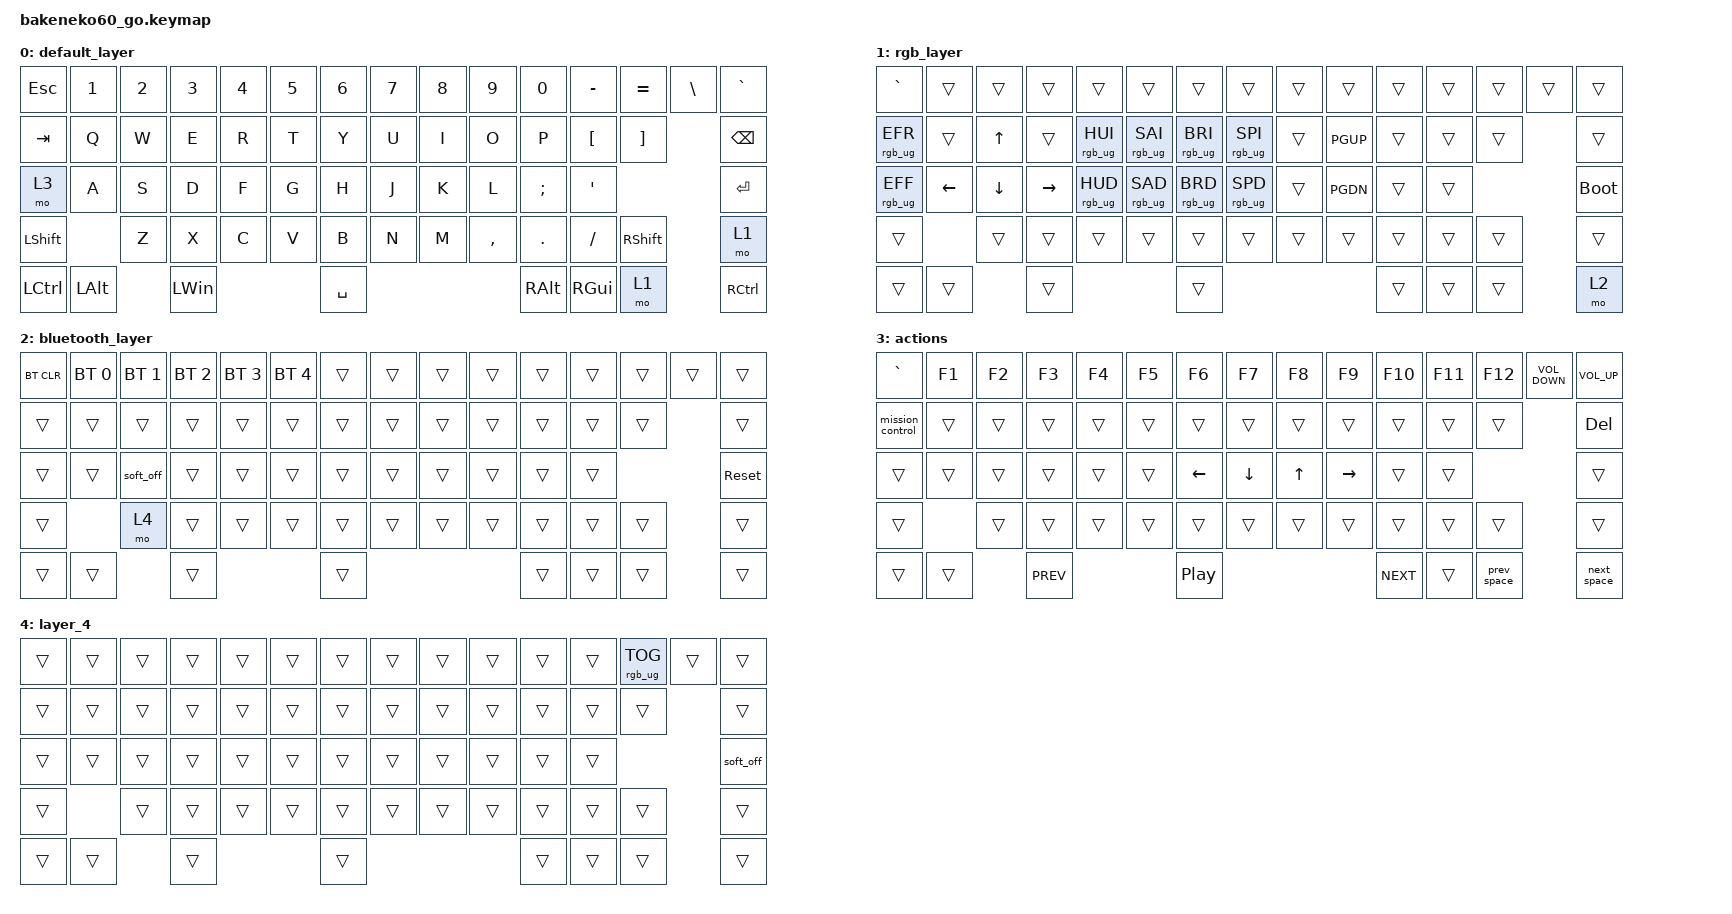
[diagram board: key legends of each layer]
/*
 * Copyright (c) 2023 Andrew Kannan
 *
 * SPDX-License-Identifier: MIT
 */

#include <behaviors.dtsi>
#include <dt-bindings/zmk/bt.h>
#include <dt-bindings/zmk/keys.h>
#include <dt-bindings/zmk/keys.h>
#include <dt-bindings/zmk/rgb.h>

/ {
    macros {
        prev_space: prev_space {
            compatible = "zmk,behavior-macro";
            #binding-cells = <0>;
            bindings = <&kt LEFT_CONTROL &kp LEFT_ARROW &kt LCTRL>;
            label = "PREV_SPACE";
        };

        next_space: next_space {
            compatible = "zmk,behavior-macro";
            #binding-cells = <0>;
            bindings = <&kt LCTRL &kp RIGHT_ARROW &kt LCTRL>;
            label = "NEXT_SPACE";
        };

        mission_control: mission_control {
            compatible = "zmk,behavior-macro";
            #binding-cells = <0>;
            bindings = <&kt LCTRL &kp UP_ARROW &kt LCTRL>;
            label = "MISSION_CONTROL";
        };
    };

    keymap {
        compatible = "zmk,keymap";

        default_layer {
            // ------------------------------------------------------------------------------------------
            // | ESC |  1  |  2  |  3  |  4  |  5  |  6  |  7  |  8  |  9  |  0  |  -  |  =  | BKSP|BKSP|
            // | TAB  |  Q  |  W  |  E  |  R  |  T  |  Y  |  U  |  I  |  O  |  P  |  [  |  ]  |   "|"   |
            // | CAPS  |  A  |  S  |  D  |  F  |  G  |  H  |  J  |  K  |  L  |  ;  |  '  |     ENTER    |
            // |  SHIFT  |  Z  |  X  |  C  |  V  |  B  |  N  |  M  |  ,  |  .  |  /  |  SHIFT  | MO(1)  |
            // |  CTL  |  WIN  |  ALT  |            SPACE              |  ALT  |  WIN  |  MO(1) |  CTL  |
            // ------------------------------------------------------------------------------------------

            bindings = <
&kp ESCAPE  &kp N1        &kp N2  &kp N3        &kp N4  &kp N5  &kp N6     &kp N7  &kp N8  &kp N9     &kp N0    &kp MINUS  &kp EQUAL  &kp BSLH  &kp GRAVE
&kp TAB     &kp Q         &kp W   &kp E         &kp R   &kp T   &kp Y      &kp U   &kp I   &kp O      &kp P     &kp LBKT   &kp RBKT             &kp BACKSPACE
&mo 3       &kp A         &kp S   &kp D         &kp F   &kp G   &kp H      &kp J   &kp K   &kp L      &kp SEMI  &kp SQT                         &kp RET
&kp LSHFT                 &kp Z   &kp X         &kp C   &kp V   &kp B      &kp N   &kp M   &kp COMMA  &kp DOT   &kp FSLH   &kp RSHFT            &mo 1
&kp LCTRL   &kp LEFT_ALT          &kp LEFT_WIN                  &kp SPACE                             &kp RALT  &kp RGUI   &mo 1                &kp RCTRL
            >;
        };

        rgb_layer {
            // ------------------------------------------------------------------------------------------------
            // |    `   | F1  | F2  | F3  | F4  | F5  | F6  | F7  | F8  | F9  | F10  | F11 | F12 |     | DEL  |
            // | EFCT REV|   |  UP |   | HUEUP | SATUP | BRIUP | SPDUP |      |  PGUP |    |     |    |       |
            // | EFCT FWD | LT |  DN  | RT | HUEDN | SATDN | BRIDN | SPDDN | HOME | PGDN | END  |  | BOOTLDR  |
            // |             |     |      |      |     |     |     |     |     |     |     |         |        |
            // |         |      |      |             TOG RGB                | PRT SCR |       |       |  MO(2)|
            // ------------------------------------------------------------------------------------------------

            bindings = <
&kp GRAVE        &trans    &trans    &trans     &trans           &trans           &trans           &trans           &trans  &trans    &trans  &trans  &trans  &trans  &trans
&rgb_ug RGB_EFR  &trans    &kp UP    &trans     &rgb_ug RGB_HUI  &rgb_ug RGB_SAI  &rgb_ug RGB_BRI  &rgb_ug RGB_SPI  &trans  &kp PGUP  &trans  &trans  &trans          &trans
&rgb_ug RGB_EFF  &kp LEFT  &kp DOWN  &kp RIGHT  &rgb_ug RGB_HUD  &rgb_ug RGB_SAD  &rgb_ug RGB_BRD  &rgb_ug RGB_SPD  &trans  &kp PGDN  &trans  &trans                  &bootloader
&trans                     &trans    &trans     &trans           &trans           &trans           &trans           &trans  &trans    &trans  &trans  &trans          &trans
&trans           &trans              &trans                                       &trans                                              &trans  &trans  &trans          &mo 2
            >;
        };

        bluetooth_layer {
            // ------------------------------------------------------------------------------------------------
            // | BT CLR |     |     |     |     |     |     |     |     |     |     |    |    |       |       |
            // |  BT 1   |   |     |   |       |       |       |       |   |     |    |     |     |           |
            // |   BT 2   |    |      |    |       |       |       |       |      |      |      |  |   Reset  |
            // |    BT 3     |     |      |      |     |     |     |     |     |     |     |         |        |
            // |   BT 4  |      |      |                                    |         |       |       |       |
            // ------------------------------------------------------------------------------------------------

            bindings = <
&bt BT_CLR  &bt BT_SEL 0  &bt BT_SEL 1  &bt BT_SEL 2  &bt BT_SEL 3  &bt BT_SEL 4  &trans  &trans  &trans  &trans  &trans  &trans  &trans  &trans  &trans
&trans      &trans        &trans        &trans        &trans        &trans        &trans  &trans  &trans  &trans  &trans  &trans  &trans          &trans
&trans      &trans        &soft_off     &trans        &trans        &trans        &trans  &trans  &trans  &trans  &trans  &trans                  &sys_reset
&trans                    &mo 4         &trans        &trans        &trans        &trans  &trans  &trans  &trans  &trans  &trans  &trans          &trans
&trans      &trans                      &trans                                    &trans                          &trans  &trans  &trans          &trans
            >;
        };

        actions {
            bindings = <
&kp GRAVE         &kp F1  &kp F2  &kp F3      &kp F4  &kp F5  &kp F6            &kp F7    &kp F8  &kp F9     &kp F10     &kp F11  &kp F12      &kp C_VOLUME_DOWN  &kp C_VOLUME_UP
&mission_control  &trans  &trans  &trans      &trans  &trans  &trans            &trans    &trans  &trans     &trans      &trans   &trans                          &kp DELETE
&trans            &trans  &trans  &trans      &trans  &trans  &kp LEFT          &kp DOWN  &kp UP  &kp RIGHT  &trans      &trans                                   &trans
&trans                    &trans  &trans      &trans  &trans  &trans            &trans    &trans  &trans     &trans      &trans   &trans                          &trans
&trans            &trans          &kp C_PREV                  &kp C_PLAY_PAUSE                               &kp C_NEXT  &trans   &prev_space                     &next_space
            >;
        };

        layer_4 {
            bindings = <
&trans  &trans  &trans  &trans  &trans  &trans  &trans  &trans  &trans  &trans  &trans  &trans  &rgb_ug RGB_TOG  &trans  &trans
&trans  &trans  &trans  &trans  &trans  &trans  &trans  &trans  &trans  &trans  &trans  &trans  &trans                   &trans
&trans  &trans  &trans  &trans  &trans  &trans  &trans  &trans  &trans  &trans  &trans  &trans                           &soft_off
&trans          &trans  &trans  &trans  &trans  &trans  &trans  &trans  &trans  &trans  &trans  &trans                   &trans
&trans  &trans          &trans                  &trans                          &trans  &trans  &trans                   &trans
            >;
        };
    };

    combos {
        compatible = "zmk,combos";

        combo_bt {
            timeout-ms = <50>;
            key-positions = <61 62>;
            bindings = <&mo 2>;
        };
    };
};
